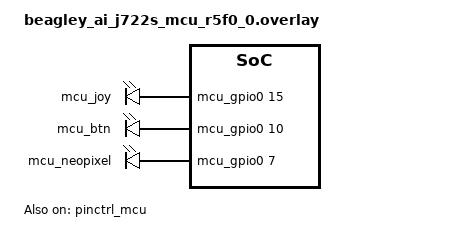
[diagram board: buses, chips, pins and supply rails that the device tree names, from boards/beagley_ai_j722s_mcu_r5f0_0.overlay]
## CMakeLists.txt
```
# SPDX-License-Identifier: Apache-2.0

cmake_minimum_required(VERSION 3.18)
find_package(Zephyr REQUIRED HINTS $ENV{ZEPHYR_BASE})
project(server_r5)

include_directories(
  ${CMAKE_CURRENT_SOURCE_DIR}/include
)

target_sources(app PRIVATE src/neopixel_driver.c)
target_include_directories(app PRIVATE include)
```

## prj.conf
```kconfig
# Enable the Zephyr main function (main thread)
CONFIG_MAIN_THREAD_PRIORITY=0

# # Enable logging (optional but helpful for debugging)
# CONFIG_LOG=y
# CONFIG_LOG_DEFAULT_LEVEL=1

# Enable GPIO
CONFIG_GPIO=y

# Use minimal libc (recommended for R5)
CONFIG_NEWLIB_LIBC=n
CONFIG_MINIMAL_LIBC=y

CONFIG_PRINTK=y
CONFIG_STDOUT_CONSOLE=y
```

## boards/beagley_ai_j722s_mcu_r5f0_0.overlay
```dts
/*
 * SPDX-License-Identifier: Apache-2.0
 */

#include <zephyr/dt-bindings/gpio/gpio.h>

 / {
    aliases {
        joy0 = &mcu_joy;
        btn0 = &mcu_btn;
        neopixel = &mcu_neopixel;
    };

    leds {
        compatible = "gpio-leds";

        mcu_joy: btn_gpio5 {
            // GPIO5
            // Zen Hat maps to joystick push
            gpios = <&mcu_gpio0 15 GPIO_ACTIVE_HIGH>;
        };

        mcu_btn: btn_gpio24 {
            // GPIO24
            // Zen Hat maps to Rotary encoder's push-button
            // SoC pin C8 - Mode 7:MCU_GPIO0_10 - Address 0x04084028
            gpios = <&mcu_gpio0 10 GPIO_ACTIVE_HIGH>;
        };

        mcu_neopixel: btn_gpio23 {
            // GPIO23
            // Zen Hat maps to NeoPixel Data Out
            // SoC pin B5 - Mode 7:MCU_GPIO0_7 - Address 0x0408401C
            gpios = <&mcu_gpio0 7 GPIO_ACTIVE_HIGH>;
        };
    };

    // ADDED, but does not work.
    pinctrl_mcu: pinctrl_mcu@4084000 {
        compatible = "ti,k3-pinctrl";
        reg = <0x04084000 0x88>;
        status = "okay";
    };

};

// ADDED, but does not work.
&pinctrl_mcu {
    // TODO: Pinmux seems not to be working
    // Had to execute 
    //      gpioset gpiochip0 9=1
    //      gpioget gpiochip0 10
    //      gpioset gpiochip0 7=1
    // on clean boot to make it flash the LED and read the pin.
    mcu_gpio0_led_btn_default: mcu_gpio0_led_btn_default {
        pinmux = <K3_PINMUX(0x003C, PIN_OUTPUT, MUX_MODE_7)>; /* (B3) GPIO5*/
        pinmux = <K3_PINMUX(0x0028, PIN_INPUT,  MUX_MODE_7)>; /* (C8) GPIO24*/
        pinmux = <K3_PINMUX(0x001C, PIN_OUTPUT, MUX_MODE_7)>; /* (B5) GPIO23*/
    };
};

&mcu_gpio0 {
    pinctrl-0 = <&mcu_gpio0_led_btn_default>;
    pinctrl-names = "default";
    status = "okay";
};
```

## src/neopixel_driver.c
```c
// R5 NeoPixel Controller (Shared Memory Version)
// Reads LED colors from shared memory and drives NeoPixel strip

#include <stdio.h>
#include <stdlib.h>
#include <zephyr/kernel.h>
#include <zephyr/drivers/gpio.h>
#include <string.h>
#include "sharedDataLayout.h"

#define NEO_NUM_LEDS 8
#define SHARED_MEM 0x00000000
static void *pSharedMem = (void *) SHARED_MEM;

// NeoPixel Timing Delays
#define NEO_ONE_ON_NS  700
#define NEO_ONE_OFF_NS 600
#define NEO_ZERO_ON_NS 350
#define NEO_ZERO_OFF_NS 800
#define NEO_RESET_NS   60000

volatile int junk_delay = 0;
#define DELAY_350_NS() {}
#define DELAY_600_NS() {for (junk_delay=0; junk_delay<9 ;junk_delay++);}
#define DELAY_700_NS() {for (junk_delay=0; junk_delay<16 ;junk_delay++);}
#define DELAY_800_NS() {for (junk_delay=0; junk_delay<23 ;junk_delay++);}
#define DELAY_NS(ns) do {int target = k_cycle_get_32() + k_ns_to_cyc_near32(ns); \
	while(k_cycle_get_32() < target); } while(false)

#define NEO_DELAY_ONE_ON()     DELAY_700_NS()
#define NEO_DELAY_ONE_OFF()    DELAY_600_NS()
#define NEO_DELAY_ZERO_ON()    DELAY_350_NS()
#define NEO_DELAY_ZERO_OFF()   DELAY_800_NS()
#define NEO_DELAY_RESET()      { DELAY_NS(NEO_RESET_NS); }

#define LED0_NODE DT_ALIAS(joy0)
#define BTN0_NODE DT_ALIAS(btn0)
#define NEOPIXEL_NODE DT_ALIAS(neopixel)

static const struct gpio_dt_spec joy = GPIO_DT_SPEC_GET(LED0_NODE, gpios);
static const struct gpio_dt_spec btn = GPIO_DT_SPEC_GET(BTN0_NODE, gpios);
static const struct gpio_dt_spec neopixel = GPIO_DT_SPEC_GET(NEOPIXEL_NODE, gpios);

static void initialize_gpio(const struct gpio_dt_spec *pPin, int direction) {
	if (!gpio_is_ready_dt(pPin)) {
		printf("ERROR: GPIO not ready\n");
		exit(EXIT_FAILURE);
	}
	if (gpio_pin_configure_dt(pPin, direction) < 0) {
		printf("ERROR: Failed to configure GPIO\n");
		exit(EXIT_FAILURE);
	}
}

void write_led_color(int index, uint32_t color) {
    int offset = SHARED_RGB_OFFSET + (index * 4);
    volatile uint32_t* pAddr = (volatile uint32_t *)((volatile uint8_t *)pSharedMem + offset);
    *pAddr = color;
}

int main(void) {
	//printf("R5 NeoPixel Shared Memory Driver\n");
	initialize_gpio(&neopixel, GPIO_OUTPUT_ACTIVE);
	initialize_gpio(&btn, GPIO_INPUT);
	initialize_gpio(&joy, GPIO_INPUT);

	//printf("Contents of Shared Memory ATCM:\n");
	for (int i = 0; i < END_MEMORY_OFFSET; i++) {
		char* addr = (char*)pSharedMem + i;
		printf("0x%08x = %2x (%c)\n", (uint32_t) addr, *addr, *addr);
	}

	MEM_UINT32(IS_BUTTON_PRESSED_OFFSET) = 0;

	while (true) {
		int state = gpio_pin_get_dt(&btn);
		bool isPressed = state == 0;
		
		gpio_pin_set_dt(&neopixel, 0);
		DELAY_NS(NEO_RESET_NS);

		//for (int j = 0; j < NEO_NUM_LEDS; j++) {
			//uint32_t* sharedRgbBase = (uint32_t*)((uint8_t*)pSharedMem + SHARED_RGB_OFFSET);
			for (int i = 0; i < NEO_NUM_LEDS; i++) {
                write_led_color(i, 0x00000000);
            }
			uint32_t color = 0x00000000;
			for (int i = 31; i >= 0; i--) {
				if (color & ((uint32_t)1 << i)) {
					gpio_pin_set_dt(&neopixel, 1);
					NEO_DELAY_ONE_ON();
					gpio_pin_set_dt(&neopixel, 0);
					NEO_DELAY_ONE_OFF();
				} else {
					gpio_pin_set_dt(&neopixel, 1);
					NEO_DELAY_ZERO_ON();
					gpio_pin_set_dt(&neopixel, 0);
					NEO_DELAY_ZERO_OFF();
				}
			}
		//}
		
		MEM_UINT32(IS_BUTTON_PRESSED_OFFSET) = isPressed;
		gpio_pin_set_dt(&neopixel, 0);
		NEO_DELAY_RESET();
	}
	return 0;
}
```
